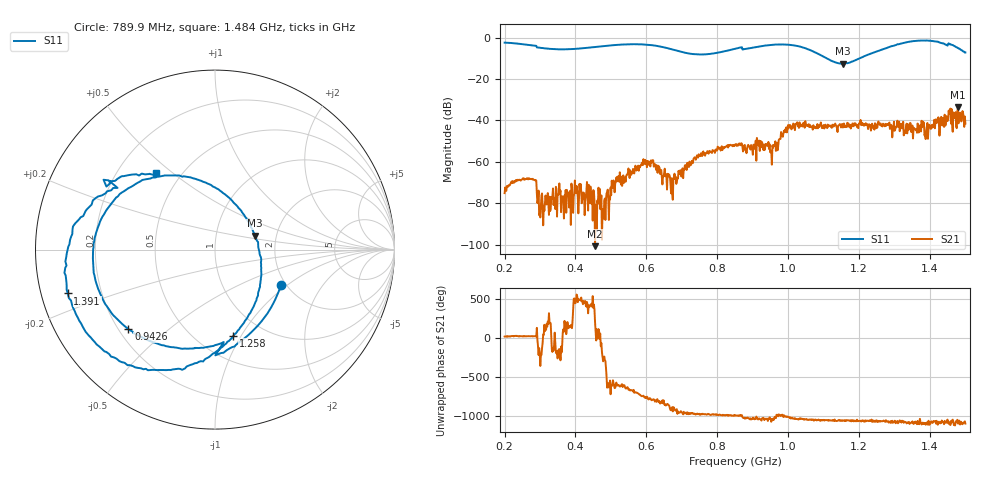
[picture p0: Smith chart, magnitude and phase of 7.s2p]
! NanoVNA-App
! Date: 2024-06-25 16:52:54
! Start: 200MHz Stop: 1.5GHz Points: 801
! S-Parameter data: F S11 S21 S12 S22
# Hz S RI R 50
!  Frequency  S11_Real  S11_Imag  S21_Real  S21_Imag  S12_Real  S12_Imag  S22_Real  S22_Imag
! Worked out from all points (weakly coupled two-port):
!   801 points, 200 MHz to 1.5 GHz, reference 50 ohm
!   highest |S21| = -33.57 dB at 1.479 GHz (marker M1); lowest = -100.8 dB at 455.1 MHz (marker M2)
!   lowest |S11| = -12.6 dB at 1.155 GHz (marker M3), VSWR 1.61, Z = 77.2 + j12.7 ohm
!   |S11| at or under -10 dB: 1.109 GHz to 1.202 GHz (92.55 MHz wide, 8.01 % of centre)
!   S12 and S22 are empty: the file has one direction only
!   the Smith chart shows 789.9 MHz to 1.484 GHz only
!   S11 on the Smith chart (normalised r, x): 789.9 MHz: 1.89, -0.89; 942.6 MHz: 0.24, -0.37; 1.258 GHz: 0.73, -0.93; 1.391 GHz: 0.08, -0.14; 1.484 GHz: 0.37, +0.44
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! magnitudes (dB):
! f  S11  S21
! 200 MHz  -2.4  -75.2
! 269.9 MHz  -3.5  -68.1
! 304 MHz  -5.0  -76.2
! 417.8 MHz  -5.1  -80.0
! 455.1 MHz  -4.5  -100.8
! 481.1 MHz  -4.1  -79.0
! 518.5 MHz  -3.5  -67.2
! 593.2 MHz  -3.3  -60.8
! 633.9 MHz  -4.1  -61.9
! 674.5 MHz  -5.7  -78.3
! 789.9 MHz  -7.6  -54.7
! 850 MHz  -5.4  -51.7
! 942.6 MHz  -3.7  -52.3
! 1.009 GHz  -3.6  -44.3
! 1.068 GHz  -6.4  -42.8
! 1.155 GHz  -12.6  -43.3
! 1.258 GHz  -6.2  -42.1
! 1.284 GHz  -4.6  -42.2
! 1.391 GHz  -1.4  -43.0
! 1.479 GHz  -5.0  -33.6
! 1.484 GHz  -5.4  -36.3
! 1.5 GHz  -7.2  -41.5
